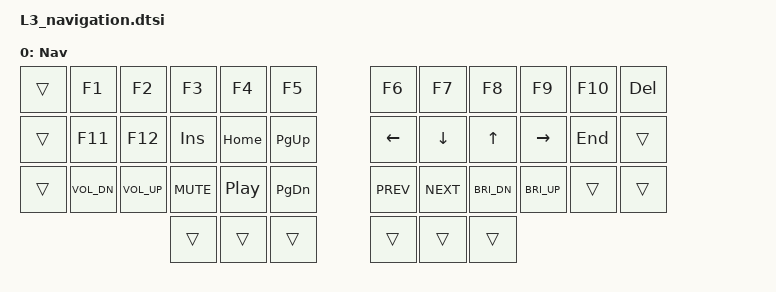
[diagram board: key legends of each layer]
/**
 * Navigation Layer - Function Keys and Navigation
 * Accessed via ESC hold - provides full F1-F12 keys and arrow navigation
 * HJKL vim-style arrows with additional navigation and media controls
 */

/ {
  keymap {
    compatible = "zmk,keymap";

    navigation_layer {
      display-name = "Nav";
      bindings = <
// ╭───────────────┬───────────────┬───────────────┬───────────────┬───────────────┬───────────────╮   ╭───────────────┬───────────────┬───────────────┬───────────────┬───────────────┬───────────────╮
// │0   ~          │1   F1         │2   F2         │3   F3         │4   F4         │5   F5         │   │6   F6         │7   F7         │8   F8         │9   F9         │10  F10        │11  DEL        │
    &trans          &kp F1          &kp F2          &kp F3          &kp F4          &kp F5              &kp F6          &kp F7          &kp F8          &kp F9          &kp F10         &kp DEL
// ├───────────────├───────────────┼───────────────┼───────────────┼───────────────┼───────────────┤   ├───────────────├───────────────┼───────────────┼───────────────┼───────────────┼───────────────┤
// │12  ESC        │13  F11        │14  F12        │15  INSERT     │16  HOME       │17  PG_UP      │   │18  LEFT       │19  DOWN       │20  UP         │21  RIGHT      │22  END        │23             │
    &trans          &kp F11         &kp F12         &kp INS         &kp HOME        &kp PG_UP           &kp LEFT        &kp DOWN        &kp UP          &kp RIGHT       &kp END         &trans
// ├───────────────├───────────────┼───────────────┼───────────────┼───────────────┼───────────────┤   ├───────────────├───────────────┼───────────────┼───────────────┼───────────────┼───────────────┤
// │24             │25  VOL_DN     │26  VOL_UP     │27  MUTE       │28  PLAY       │29  PG_DN      │   │30  C_PREV     │31  C_NEXT     │32  BRI_DN     │33  BRI_UP     │34             │35             │
    &trans          &kp C_VOL_DN    &kp C_VOL_UP    &kp C_MUTE      &kp C_PP        &kp PG_DN           &kp C_PREV      &kp C_NEXT      &kp C_BRI_DN    &kp C_BRI_UP    &trans          &trans
// ╰───────────────┴───────────────┴───────────────┼───────────────┼───────────────┼───────────────┤   ├───────────────├───────────────┼───────────────┼───────────────┴───────────────┴───────────────╯
//                                                 │36             │37             │38             │   │39             │40             │41             │
                                                    &trans          &trans          &trans              &trans          &trans          &trans
//                                                 ╰───────────────┴───────────────┴───────────────╯   ╰───────────────┴───────────────┴───────────────╯
      >;
    };
  };
};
